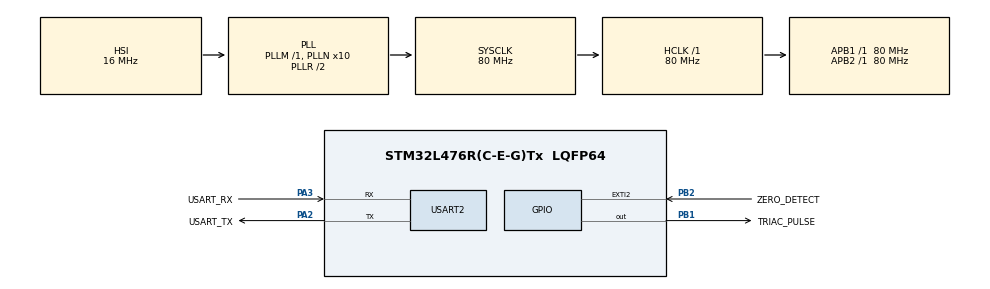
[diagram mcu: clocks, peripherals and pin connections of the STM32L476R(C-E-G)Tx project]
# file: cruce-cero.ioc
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Mcu.Family=STM32L4
Mcu.Name=STM32L476R(C-E-G)Tx
Mcu.Package=LQFP64
NVIC.EXTI2_IRQn=true\:0\:0\:false\:false\:true\:true\:true\:true
NVIC.PriorityGroup=NVIC_PRIORITYGROUP_4
NVIC.TIM2_IRQn=true\:0\:0\:false\:false\:true\:true\:true\:true
NVIC.USART2_IRQn=true\:0\:0\:false\:false\:true\:true\:true\:true
PA13\ (JTMS-SWDIO).GPIO_Label=TMS
PA13\ (JTMS-SWDIO).Mode=Serial_Wire
PA13\ (JTMS-SWDIO).Signal=SYS_JTMS-SWDIO
PA14\ (JTCK-SWCLK).GPIO_Label=TCK
PA14\ (JTCK-SWCLK).Mode=Serial_Wire
PA14\ (JTCK-SWCLK).Signal=SYS_JTCK-SWCLK
PA2.GPIO_Label=USART_TX
PA2.GPIO_Mode=GPIO_MODE_AF_PP
PA2.GPIO_PuPd=GPIO_NOPULL
PA2.GPIO_Speed=GPIO_SPEED_FREQ_VERY_HIGH
PA2.Mode=Asynchronous
PA2.Signal=USART2_TX
PA3.GPIO_Label=USART_RX
PA3.GPIO_Mode=GPIO_MODE_AF_PP
PA3.GPIO_PuPd=GPIO_NOPULL
PA3.GPIO_Speed=GPIO_SPEED_FREQ_VERY_HIGH
PA3.Mode=Asynchronous
PA3.Signal=USART2_RX
PB1.GPIO_Label=TRIAC_PULSE
PB1.GPIO_Speed=GPIO_SPEED_FREQ_MEDIUM
PB1.Signal=GPIO_Output
PB2.GPIO_Label=ZERO_DETECT
PB2.GPIO_PuPd=GPIO_PULLUP
PB2.Signal=GPXTI2
PB3\ (JTDO-TRACESWO).GPIO_Label=SWO
PB3\ (JTDO-TRACESWO).Signal=SYS_JTDO-SWO
PC14-OSC32_IN\ (PC14).Mode=LSE-External-Oscillator
PC14-OSC32_IN\ (PC14).Signal=RCC_OSC32_IN
PC15-OSC32_OUT\ (PC15).Mode=LSE-External-Oscillator
PC15-OSC32_OUT\ (PC15).Signal=RCC_OSC32_OUT
PH0-OSC_IN\ (PH0).Signal=RCC_OSC_IN
PH1-OSC_OUT\ (PH1).Signal=RCC_OSC_OUT
ProjectManager.HeapSize=0x200
ProjectManager.StackSize=0x400
ProjectManager.TargetToolchain=CMake
RCC.ADCFreq_Value=64000000
RCC.AHBFreq_Value=80000000
RCC.APB1Freq_Value=80000000
RCC.APB1TimFreq_Value=80000000
RCC.APB2Freq_Value=80000000
RCC.APB2TimFreq_Value=80000000
RCC.CortexFreq_Value=80000000
RCC.HCLKFreq_Value=80000000
RCC.HSE_VALUE=8000000
RCC.HSI_VALUE=16000000
RCC.MSI_VALUE=4000000
RCC.PLLN=10
RCC.PLLSourceVirtual=RCC_PLLSOURCE_HSI
RCC.PREFETCH_ENABLE=1
RCC.SYSCLKFreq_VALUE=80000000
RCC.SYSCLKSource=RCC_SYSCLKSOURCE_PLLCLK
RCC.USBFreq_Value=64000000
RCC.VCOOutputFreq_Value=160000000
TIM2.Period=99
TIM2.Prescaler=79
USART2.VirtualMode-Asynchronous=VM_ASYNC
VP_TIM2_VS_ClockSourceINT.Mode=Internal
board=NUCLEO-L476RG

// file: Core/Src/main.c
/* USER CODE BEGIN Header */
/**
  ******************************************************************************
  * @file           : main.c
  * @brief          : Main program body
  ******************************************************************************
  * @attention
  *
  * Copyright (c) 2025 STMicroelectronics.
  * All rights reserved.
  *
  * This software is licensed under terms that can be found in the LICENSE file
  * in the root directory of this software component.
  * If no LICENSE file comes with this software, it is provided AS-IS.
  *
  ******************************************************************************
  */
/* USER CODE END Header */
#include "main.h"
#include "dimmer.h"

TIM_HandleTypeDef htim2;

UART_HandleTypeDef huart2;

void SystemClock_Config(void);
static void MX_GPIO_Init(void);
static void MX_USART2_UART_Init(void);
static void MX_TIM2_Init(void);
/* USER CODE BEGIN PFP */

/* Callback de la interrupción del timer (cada 100 µs) */
void HAL_TIM_PeriodElapsedCallback(TIM_HandleTypeDef *htim)
{
  if(htim->Instance == TIM2)
  {
    Dimmer_TIM_PeriodElapsedCallback(htim);
  }

}

/* Callback de la interrupción externa (EXTI) para el cruce por cero */
void HAL_GPIO_EXTI_Callback(uint16_t GPIO_Pin)
{
  if(GPIO_Pin == ZERO_DETECT_Pin)
  {
    Dimmer_GPIO_EXTI_Callback();
  }
}

uint8_t rx_data;   // Variable para recibir un byte por USART2
void HAL_UART_RxCpltCallback(UART_HandleTypeDef *huart)
{
  if(huart->Instance == USART2)
  {
    // Recibe un byte por USART2
    Dimmer_UART_RxCpltCallback(huart, rx_data);
    // Continúa la recepción por interrupción
    HAL_UART_Receive_IT(&huart2, (uint8_t *)&rx_data, 1);
  }

}

/* USER CODE END PFP */

int main(void)
{

  /* MCU Configuration--------------------------------------------------------*/

  /* Reset of all peripherals, Initializes the Flash interface and the Systick. */
  HAL_Init();

  /* USER CODE BEGIN Init */
  Dimmer_Init();  // Inicializa las variables internas del módulo
  /* USER CODE END Init */

  /* Configure the system clock */
  SystemClock_Config();

  /* Initialize all configured peripherals */
  MX_GPIO_Init();
  MX_USART2_UART_Init();
  MX_TIM2_Init();
  /* USER CODE BEGIN 2 */
  HAL_TIM_Base_Start_IT(&htim2);

  /* Inicia la recepción en USART2 por interrupción (1 byte) */
  HAL_UART_Receive_IT(&huart2, (uint8_t *)&rx_data, 1);

  /* Enviar mensaje inicial vía USART2 */
  char *msg = "Ingresa un valor de dim (0 a 9):\r\n";
  HAL_UART_Transmit(&huart2, (uint8_t *)msg, strlen(msg), 100);
  /* USER CODE END 2 */

  /* Infinite loop */
  while (1)
  {

  }
}

void SystemClock_Config(void)
{
  RCC_OscInitTypeDef RCC_OscInitStruct = {0};
  RCC_ClkInitTypeDef RCC_ClkInitStruct = {0};

  /** Configure the main internal regulator output voltage
  */
  if (HAL_PWREx_ControlVoltageScaling(PWR_REGULATOR_VOLTAGE_SCALE1) != HAL_OK)
  {
    Error_Handler();
  }

  /** Initializes the RCC Oscillators according to the specified parameters
  * in the RCC_OscInitTypeDef structure.
  */
  RCC_OscInitStruct.OscillatorType = RCC_OSCILLATORTYPE_HSI;
  RCC_OscInitStruct.HSIState = RCC_HSI_ON;
  RCC_OscInitStruct.HSICalibrationValue = RCC_HSICALIBRATION_DEFAULT;
  RCC_OscInitStruct.PLL.PLLState = RCC_PLL_ON;
  RCC_OscInitStruct.PLL.PLLSource = RCC_PLLSOURCE_HSI;
  RCC_OscInitStruct.PLL.PLLM = 1;
  RCC_OscInitStruct.PLL.PLLN = 10;
  RCC_OscInitStruct.PLL.PLLP = RCC_PLLP_DIV7;
  RCC_OscInitStruct.PLL.PLLQ = RCC_PLLQ_DIV2;
  RCC_OscInitStruct.PLL.PLLR = RCC_PLLR_DIV2;
  if (HAL_RCC_OscConfig(&RCC_OscInitStruct) != HAL_OK)
  {
    Error_Handler();
  }

  /** Initializes the CPU, AHB and APB buses clocks
  */
  RCC_ClkInitStruct.ClockType = RCC_CLOCKTYPE_HCLK|RCC_CLOCKTYPE_SYSCLK
                              |RCC_CLOCKTYPE_PCLK1|RCC_CLOCKTYPE_PCLK2;
  RCC_ClkInitStruct.SYSCLKSource = RCC_SYSCLKSOURCE_PLLCLK;
  RCC_ClkInitStruct.AHBCLKDivider = RCC_SYSCLK_DIV1;
  RCC_ClkInitStruct.APB1CLKDivider = RCC_HCLK_DIV1;
  RCC_ClkInitStruct.APB2CLKDivider = RCC_HCLK_DIV1;

  if (HAL_RCC_ClockConfig(&RCC_ClkInitStruct, FLASH_LATENCY_4) != HAL_OK)
  {
    Error_Handler();
  }
}

static void MX_TIM2_Init(void)
{

  TIM_ClockConfigTypeDef sClockSourceConfig = {0};
  TIM_MasterConfigTypeDef sMasterConfig = {0};

  htim2.Instance = TIM2;
  htim2.Init.Prescaler = 79;
  htim2.Init.CounterMode = TIM_COUNTERMODE_UP;
  htim2.Init.Period = 99;
  htim2.Init.ClockDivision = TIM_CLOCKDIVISION_DIV1;
  htim2.Init.AutoReloadPreload = TIM_AUTORELOAD_PRELOAD_DISABLE;
  if (HAL_TIM_Base_Init(&htim2) != HAL_OK)
  {
    Error_Handler();
  }
  sClockSourceConfig.ClockSource = TIM_CLOCKSOURCE_INTERNAL;
  if (HAL_TIM_ConfigClockSource(&htim2, &sClockSourceConfig) != HAL_OK)
  {
    Error_Handler();
  }
  sMasterConfig.MasterOutputTrigger = TIM_TRGO_RESET;
  sMasterConfig.MasterSlaveMode = TIM_MASTERSLAVEMODE_DISABLE;
  if (HAL_TIMEx_MasterConfigSynchronization(&htim2, &sMasterConfig) != HAL_OK)
  {
    Error_Handler();
  }

}

static void MX_USART2_UART_Init(void)
{

  huart2.Instance = USART2;
  huart2.Init.BaudRate = 115200;
  huart2.Init.WordLength = UART_WORDLENGTH_8B;
  huart2.Init.StopBits = UART_STOPBITS_1;
  huart2.Init.Parity = UART_PARITY_NONE;
  huart2.Init.Mode = UART_MODE_TX_RX;
  huart2.Init.HwFlowCtl = UART_HWCONTROL_NONE;
  huart2.Init.OverSampling = UART_OVERSAMPLING_16;
  huart2.Init.OneBitSampling = UART_ONE_BIT_SAMPLE_DISABLE;
  huart2.AdvancedInit.AdvFeatureInit = UART_ADVFEATURE_NO_INIT;
  if (HAL_UART_Init(&huart2) != HAL_OK)
  {
    Error_Handler();
  }

}

static void MX_GPIO_Init(void)
{
  GPIO_InitTypeDef GPIO_InitStruct = {0};

  /* GPIO Ports Clock Enable */
  __HAL_RCC_GPIOC_CLK_ENABLE();
  __HAL_RCC_GPIOH_CLK_ENABLE();
  __HAL_RCC_GPIOA_CLK_ENABLE();
  __HAL_RCC_GPIOB_CLK_ENABLE();

  /*Configure GPIO pin Output Level */
  HAL_GPIO_WritePin(TRIAC_PULSE_GPIO_Port, TRIAC_PULSE_Pin, GPIO_PIN_RESET);

  /*Configure GPIO pin : TRIAC_PULSE_Pin */
  GPIO_InitStruct.Pin = TRIAC_PULSE_Pin;
  GPIO_InitStruct.Mode = GPIO_MODE_OUTPUT_PP;
  GPIO_InitStruct.Pull = GPIO_NOPULL;
  GPIO_InitStruct.Speed = GPIO_SPEED_FREQ_MEDIUM;
  HAL_GPIO_Init(TRIAC_PULSE_GPIO_Port, &GPIO_InitStruct);

  /*Configure GPIO pin : ZERO_DETECT_Pin */
  GPIO_InitStruct.Pin = ZERO_DETECT_Pin;
  GPIO_InitStruct.Mode = GPIO_MODE_IT_RISING;
  GPIO_InitStruct.Pull = GPIO_PULLUP;
  HAL_GPIO_Init(ZERO_DETECT_GPIO_Port, &GPIO_InitStruct);

  /* EXTI interrupt init*/
  HAL_NVIC_SetPriority(EXTI2_IRQn, 0, 0);
  HAL_NVIC_EnableIRQ(EXTI2_IRQn);

}

void Error_Handler(void)
{
  __disable_irq();
  while (1)
  {
  }
}
